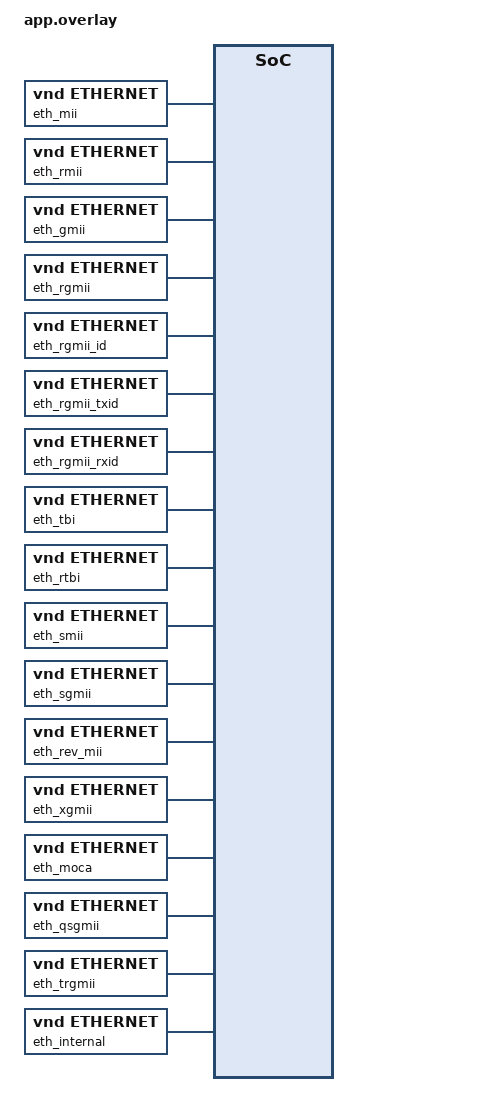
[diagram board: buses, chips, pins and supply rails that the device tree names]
/*
 * SPDX-FileCopyrightText: Copyright The Zephyr Project Contributors
 * SPDX-License-Identifier: Apache-2.0
 */

/ {
	eth_mii: eth-mii {
		compatible = "vnd,ethernet";
		phy-connection-type = "mii";
	};

	eth_rmii: eth-rmii {
		compatible = "vnd,ethernet";
		phy-connection-type = "rmii";
	};

	eth_gmii: eth-gmii {
		compatible = "vnd,ethernet";
		phy-connection-type = "gmii";
	};

	eth_rgmii: eth-rgmii {
		compatible = "vnd,ethernet";
		phy-connection-type = "rgmii";
	};

	eth_rgmii_id: eth-rgmii-id {
		compatible = "vnd,ethernet";
		phy-connection-type = "rgmii-id";
	};

	eth_rgmii_txid: eth-rgmii-txid {
		compatible = "vnd,ethernet";
		phy-connection-type = "rgmii-txid";
	};

	eth_rgmii_rxid: eth-rgmii-rxid {
		compatible = "vnd,ethernet";
		phy-connection-type = "rgmii-rxid";
	};

	eth_tbi: eth-tbi {
		compatible = "vnd,ethernet";
		phy-connection-type = "tbi";
	};

	eth_rtbi: eth-rtbi {
		compatible = "vnd,ethernet";
		phy-connection-type = "rtbi";
	};

	eth_smii: eth-smii {
		compatible = "vnd,ethernet";
		phy-connection-type = "smii";
	};

	eth_sgmii: eth-sgmii {
		compatible = "vnd,ethernet";
		phy-connection-type = "sgmii";
	};

	eth_rev_mii: eth-rev-mii {
		compatible = "vnd,ethernet";
		phy-connection-type = "rev-mii";
	};

	eth_xgmii: eth-xgmii {
		compatible = "vnd,ethernet";
		phy-connection-type = "xgmii";
	};

	eth_moca: eth-moca {
		compatible = "vnd,ethernet";
		phy-connection-type = "moca";
	};

	eth_qsgmii: eth-qsgmii {
		compatible = "vnd,ethernet";
		phy-connection-type = "qsgmii";
	};

	eth_trgmii: eth-trgmii {
		compatible = "vnd,ethernet";
		phy-connection-type = "trgmii";
	};

	eth_internal: eth-internal {
		compatible = "vnd,ethernet";
		phy-connection-type = "internal";
	};
};
